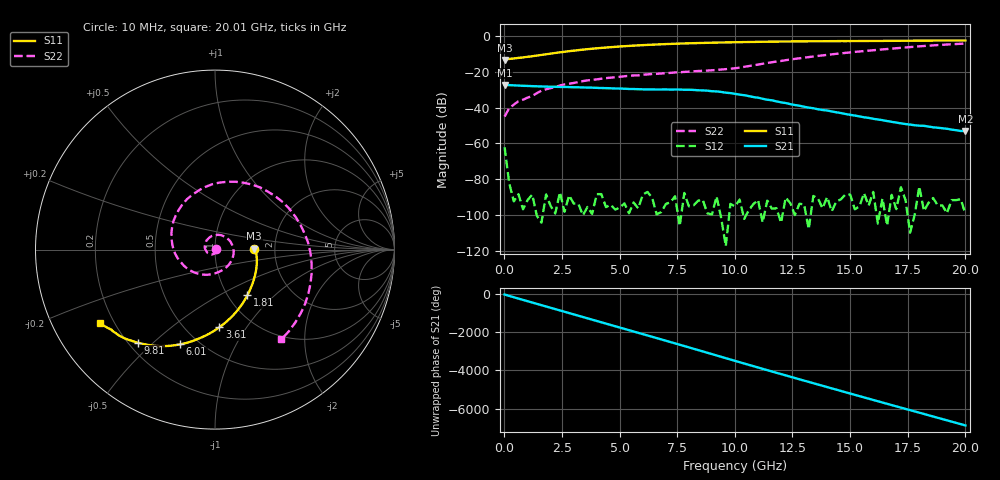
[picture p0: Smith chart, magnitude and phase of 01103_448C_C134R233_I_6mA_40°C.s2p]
!;Filter: kein Filter
!auto
!3/21/2019 9:27:54 AM
!3/21/2019 9:28:10 AM
!SP-Measurements Prober G4
!SP-Measurements Prober G4
!01103_448C
!134
!233
!12
!40
!-20
!0.00599970
!2.02
!0.74959551
!0.74959551
# Hz S  RI  R 50
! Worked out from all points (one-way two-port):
!   101 points, 10 MHz to 20.01 GHz, reference 50 ohm
!   highest |S21| = -27.25 dB at 10 MHz (marker M1); lowest = -53.1 dB at 20.01 GHz (marker M2)
!   lowest |S11| = -13.2 dB at 10 MHz (marker M3), VSWR 1.56, Z = 77.8 + j0.931 ohm
!   |S11| at or under -10 dB: start of sweep to 1.872 GHz
!   |S22| runs from -45.0 to -4.1 dB; largest |S21 - S12| = 0.043
!   S11 on the Smith chart (normalised r, x): 10 MHz: 1.56, +0.02; 1.81 GHz: 1.22, -0.69; 3.61 GHz: 0.71, -0.76; 6.01 GHz: 0.40, -0.62; 9.81 GHz: 0.24, -0.45; 20.01 GHz: 0.15, -0.29
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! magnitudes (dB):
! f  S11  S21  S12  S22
! 10 MHz  -13.2  -27.2  -62.1  -45.0
! 210 MHz  -12.7  -27.4  -82.2  -40.2
! 610 MHz  -12.2  -27.6  -88.3  -36.3
! 1.21 GHz  -11.2  -27.9  -88.6  -33.5
! 1.61 GHz  -10.5  -28.1  -104.3  -30.5
! 1.81 GHz  -10.1  -28.2  -88.5  -29.7
! 2.61 GHz  -8.7  -28.4  -98.2  -26.9
! 3.41 GHz  -7.5  -28.6  -100.2  -25.1
! 3.61 GHz  -7.3  -28.8  -95.5  -24.7
! 6.01 GHz  -5.0  -29.7  -88.5  -21.6
! 6.81 GHz  -4.5  -29.8  -98.3  -20.9
! 8.61 GHz  -3.8  -30.3  -91.5  -19.4
! 9.81 GHz  -3.4  -31.8  -93.8  -18.2
! 10.01 GHz  -3.4  -32.2  -95.2  -17.9
! 11.61 GHz  -3.1  -35.9  -96.4  -14.6
! 13.41 GHz  -2.8  -40.3  -89.4  -11.4
! 15.21 GHz  -2.7  -44.4  -96.8  -8.8
! 16.81 GHz  -2.6  -47.9  -88.8  -7.0
! 17.81 GHz  -2.5  -49.8  -99.8  -5.9
! 19.21 GHz  -2.4  -51.8  -99.0  -4.6
! 19.81 GHz  -2.4  -53.0  -91.1  -4.2
! 20.01 GHz  -2.4  -53.1  -99.4  -4.1
